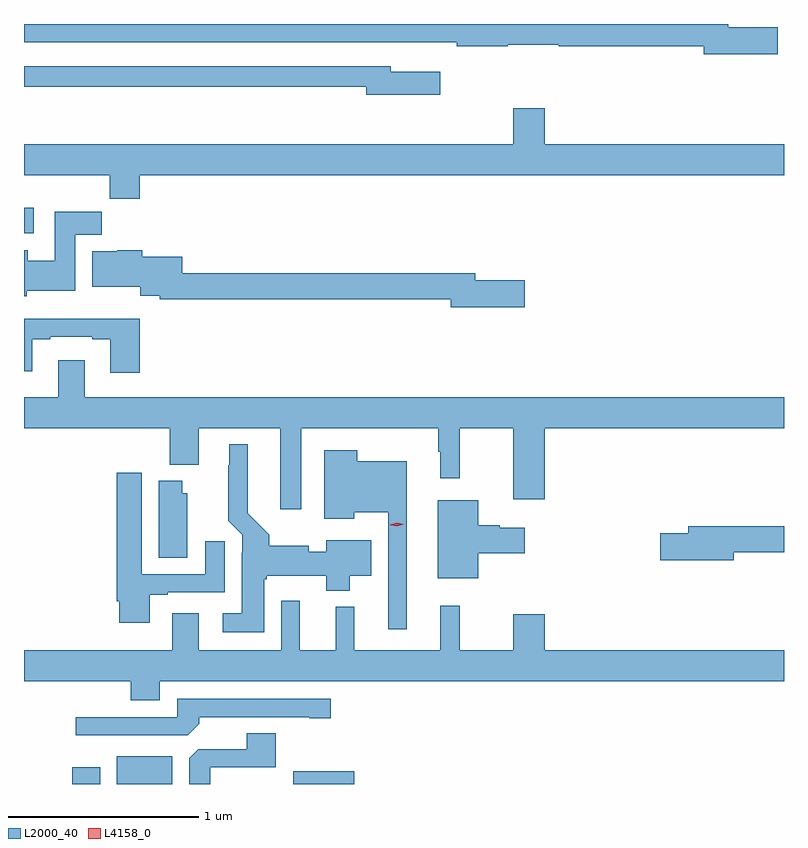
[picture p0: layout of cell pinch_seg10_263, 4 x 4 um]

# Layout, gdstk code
import gdstk
lib = gdstk.Library(unit=1e-6, precision=1e-09)
def R(c, l, rs):  # rectangles x0, y0, x1, y1
    for r in rs: c.add(gdstk.rectangle(r[:2], r[2:], *l))
def P(c, l, *ps):  # polygons
    for p in ps: c.add(gdstk.Polygon(p, *l))
L2000_40 = (2000, 40)
L4158_0 = (4158, 0)

pinch_seg10_263 = lib.new_cell('pinch_seg10_263')
R(pinch_seg10_263, L2000_40, [(510.338,1309.1,510.484,1309.189), (510.572,1309.1,510.865,1309.246), (511.5,1309.1,511.822,1309.168), (510.084,1311.998,510.136,1312.132)])
P(pinch_seg10_263, L2000_40, [(514.051,1313.084),(513.79,1313.084),(513.79,1313.1),(510.084,1313.1),(510.084,1313.004),(512.11,1313.004),(512.11,1313.003),(512.362,1313.003),(512.362,1312.984),(512.63,1312.984),(512.63,1312.992),(512.898,1312.992),(512.898,1312.984),(513.662,1312.984),(513.662,1312.942),(514.051,1312.942)],
  [(512.275,1312.849),(512.014,1312.849),(512.014,1312.878),(510.084,1312.878),(510.084,1312.77),(511.886,1312.77),(511.886,1312.727),(512.275,1312.727)],
  [(510.692,1312.304),(514.084,1312.304),(514.084,1312.468),(512.824,1312.468),(512.824,1312.657),(512.66,1312.657),(512.66,1312.468),(510.084,1312.468),(510.084,1312.304),(510.535,1312.304),(510.535,1312.18),(510.692,1312.18)],
  [(510.099,1311.695),(510.355,1311.695),(510.355,1311.992),(510.494,1311.992),(510.494,1312.111),(510.245,1312.111),(510.245,1311.853),(510.103,1311.853),(510.103,1311.91),(510.084,1311.91),(510.084,1311.668),(510.099,1311.668)],
  [(512.719,1311.752),(512.458,1311.752),(512.458,1311.788),(510.916,1311.788),(510.916,1311.874),(510.707,1311.874),(510.707,1311.91),(510.576,1311.91),(510.576,1311.904),(510.443,1311.904),(510.443,1311.716),(510.695,1311.716),(510.695,1311.671),(510.799,1311.671),(510.799,1311.652),(512.33,1311.652),(512.33,1311.61),(512.719,1311.61)],
  [(510.692,1311.55),(510.246,1311.55),(510.246,1311.549),(510.084,1311.549),(510.084,1311.272),(510.127,1311.272),(510.127,1311.441),(510.223,1311.441),(510.223,1311.453),(510.443,1311.453),(510.443,1311.441),(510.539,1311.441),(510.539,1311.264),(510.692,1311.264)],
  [(511.543,1310.972),(512.265,1310.972),(512.265,1310.849),(512.276,1310.849),(512.276,1310.709),(512.378,1310.709),(512.378,1310.972),(512.66,1310.972),(512.66,1310.598),(512.824,1310.598),(512.824,1310.972),(514.084,1310.972),(514.084,1311.136),(510.403,1311.136),(510.403,1311.331),(510.263,1311.331),(510.263,1311.136),(510.084,1311.136),(510.084,1310.972),(510.851,1310.972),(510.851,1310.78),(511.003,1310.78),(511.003,1310.972),(511.433,1310.972),(511.433,1310.547),(511.543,1310.547)],
  [(511.348,1310.178),(511.362,1310.178),(511.362,1310.195),(511.676,1310.195),(511.676,1310.117),(511.798,1310.117),(511.798,1310.195),(511.912,1310.195),(511.912,1310.383),(511.676,1310.383),(511.676,1310.323),(511.582,1310.323),(511.582,1310.353),(511.374,1310.353),(511.374,1310.411),(511.261,1310.524),(511.261,1310.887),(511.163,1310.887),(511.163,1310.777),(511.159,1310.777),(511.159,1310.486),(511.233,1310.412),(511.233,1310.318),(511.229,1310.318),(511.229,1309.999),(511.131,1309.999),(511.131,1309.898),(511.348,1309.898)],
  [(512.098,1310.8),(511.839,1310.8),(511.839,1310.857),(511.664,1310.857),(511.664,1310.495),(511.822,1310.495),(511.822,1310.531),(512.001,1310.531),(512.001,1309.914),(512.098,1309.914)],
  [(510.745,1310.097),(510.841,1310.097),(510.841,1310.109),(511.141,1310.109),(511.141,1310.377),(511.037,1310.377),(511.037,1310.205),(510.703,1310.205),(510.703,1310.737),(510.572,1310.737),(510.572,1310.062),(510.584,1310.062),(510.584,1309.95),(510.745,1309.95)],
  [(510.943,1310.631),(510.916,1310.631),(510.916,1310.695),(510.794,1310.695),(510.794,1310.29),(510.943,1310.29)],
  [(512.476,1310.315),(512.719,1310.315),(512.719,1310.449),(512.589,1310.449),(512.589,1310.462),(512.476,1310.462),(512.476,1310.593),(512.261,1310.593),(512.261,1310.183),(512.476,1310.183)],
  [(513.82,1310.32),(514.084,1310.32),(514.084,1310.456),(513.581,1310.456),(513.581,1310.42),(513.432,1310.42),(513.432,1310.278),(513.82,1310.278)],
  [(514.084,1309.804),(512.824,1309.804),(512.824,1309.993),(512.66,1309.993),(512.66,1309.804),(512.378,1309.804),(512.378,1310.038),(512.276,1310.038),(512.276,1309.804),(511.823,1309.804),(511.823,1310.032),(511.724,1310.032),(511.724,1309.804),(511.535,1309.804),(511.535,1310.065),(511.437,1310.065),(511.437,1309.804),(511.003,1309.804),(511.003,1309.999),(510.863,1309.999),(510.863,1309.804),(510.084,1309.804),(510.084,1309.64),(510.647,1309.64),(510.647,1309.541),(510.799,1309.541),(510.799,1309.64),(514.084,1309.64)],
  [(511.007,1309.418),(511.007,1309.452),(511.586,1309.452),(511.586,1309.447),(511.699,1309.447),(511.699,1309.548),(510.891,1309.548),(510.891,1309.452),(510.357,1309.452),(510.357,1309.356),(510.945,1309.356)],
  [(511.065,1309.188),(511.409,1309.188),(511.409,1309.367),(511.256,1309.367),(511.256,1309.284),(511.002,1309.284),(510.953,1309.235),(510.953,1309.1),(511.065,1309.1)])
P(pinch_seg10_263, L4158_0, [(512.048,1310.456),(512.012,1310.463),(512.011,1310.463),(512.012,1310.464),(512.046,1310.476),(512.083,1310.468),(512.083,1310.468),(512.083,1310.468)])

lib.write_gds('pinch_seg10_263.gds')
